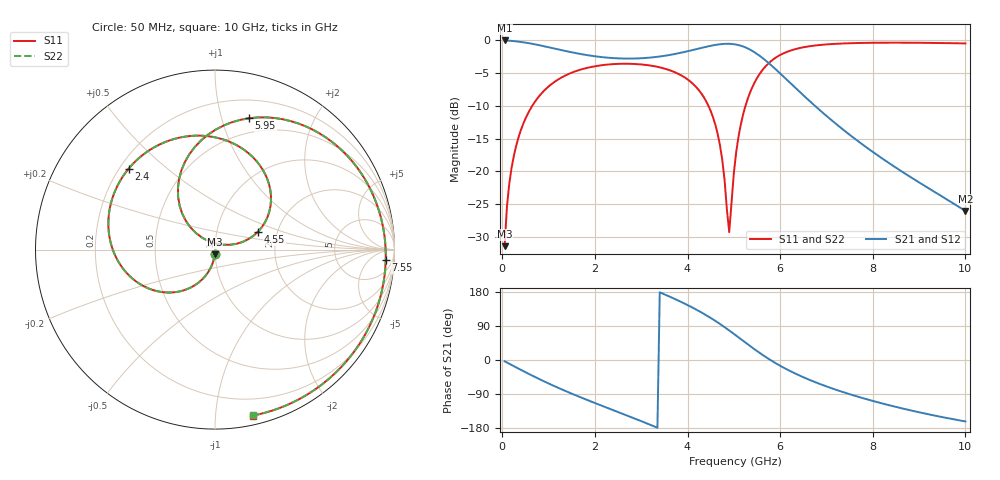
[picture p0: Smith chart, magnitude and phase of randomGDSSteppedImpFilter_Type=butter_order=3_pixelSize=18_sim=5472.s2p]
! freq	dB(S11)	phase(S11)	dB(S12)	phase(S12)
!  dB(S21)	phase(S21)	dB(S22)	phase(S22)
!S-par simulation data
#  GHz  S  DB  R 50
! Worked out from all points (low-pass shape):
!   200 points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, 50 MHz to 10 GHz, reference 50 ohm
!   highest |S21| = -0.01 dB at 50 MHz (marker M1); lowest = -26.1 dB at 10 GHz (marker M2)
!   |S21| within 3 dB of the highest: start of sweep to 5.676 GHz
!   lowest |S11| = -31.4 dB at 50 MHz (marker M3), VSWR 1.06, Z = 49.8 - j2.67 ohm
!   |S11| at or under -10 dB: start of sweep to 646.5 MHz; 4.452 GHz to 5.251 GHz (799 MHz wide, 16.5 % of centre)
!   |S22| runs from -31.4 to -0.3 dB; largest |S21 - S12| = 0
!   S11 on the Smith chart (normalised r, x): 50 MHz: 1.00, -0.05; 2.4 GHz: 0.24, +0.38; 4.55 GHz: 1.58, +0.34; 5.95 GHz: 0.36, +1.23; 7.55 GHz: 16, -20; 10 GHz: 0.07, -1.25
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0.05  -31.43 -93.5  -0.01 -3.3  -0.01 -3.3  -31.43 -93.4
0.1  -25.43 -96.9  -0.02 -6.6  -0.02 -6.6  -25.43 -96.9
0.2  -19.49 -103.6  -0.07 -13.1  -0.07 -13.1  -19.49 -103.6
0.5  -11.95 -122.8  -0.34 -32.2  -0.34 -32.2  -11.95 -122.8
1.05  -6.74 -155.3  -1.12 -64.8  -1.12 -64.8  -6.74 -155.3
1.75  -4.34 168.1  -2.15 -101.4  -2.15 -101.4  -4.34 168.1
2.4  -3.62 136.9  -2.70 -132.6  -2.70 -132.6  -3.62 136.9
2.95  -3.64 110.9  -2.74 -158.9  -2.74 -158.9  -3.64 110.9
3.4  -4.11 88.8  -2.46 178.6  -2.46 178.6  -4.11 88.8
4.05  -6.22 53.3  -1.57 141.9  -1.57 141.9  -6.22 53.3
4.55  -11.74 22.6  -0.75 107.2  -0.75 107.2  -11.74 22.5
4.75  -18.23 15.1  -0.55 91.0  -0.55 91.0  -18.24 15.1
4.9  -29.29 82.3  -0.52 78.0  -0.52 78.0  -29.34 82.4
5.05  -17.11 139.0  -0.63 64.5  -0.63 64.5  -17.12 139.1
5.2  -11.31 132.3  -0.93 50.7  -0.93 50.7  -11.31 132.3
5.45  -6.40 113.1  -1.83 28.0  -1.83 28.0  -6.40 113.1
5.95  -2.43 75.4  -4.71 -11.8  -4.71 -11.8  -2.43 75.5
6.7  -0.82 32.5  -9.67 -55.7  -9.67 -55.7  -0.82 32.5
7.55  -0.42 -3.5  -14.68 -92.1  -14.68 -92.1  -0.42 -3.4
8.35  -0.34 -30.8  -18.74 -119.2  -18.74 -119.2  -0.34 -30.8
9.15  -0.37 -54.5  -22.34 -141.9  -22.34 -141.9  -0.37 -54.4
10  -0.46 -77.0  -26.05 -162.1  -26.05 -162.1  -0.46 -77.0
